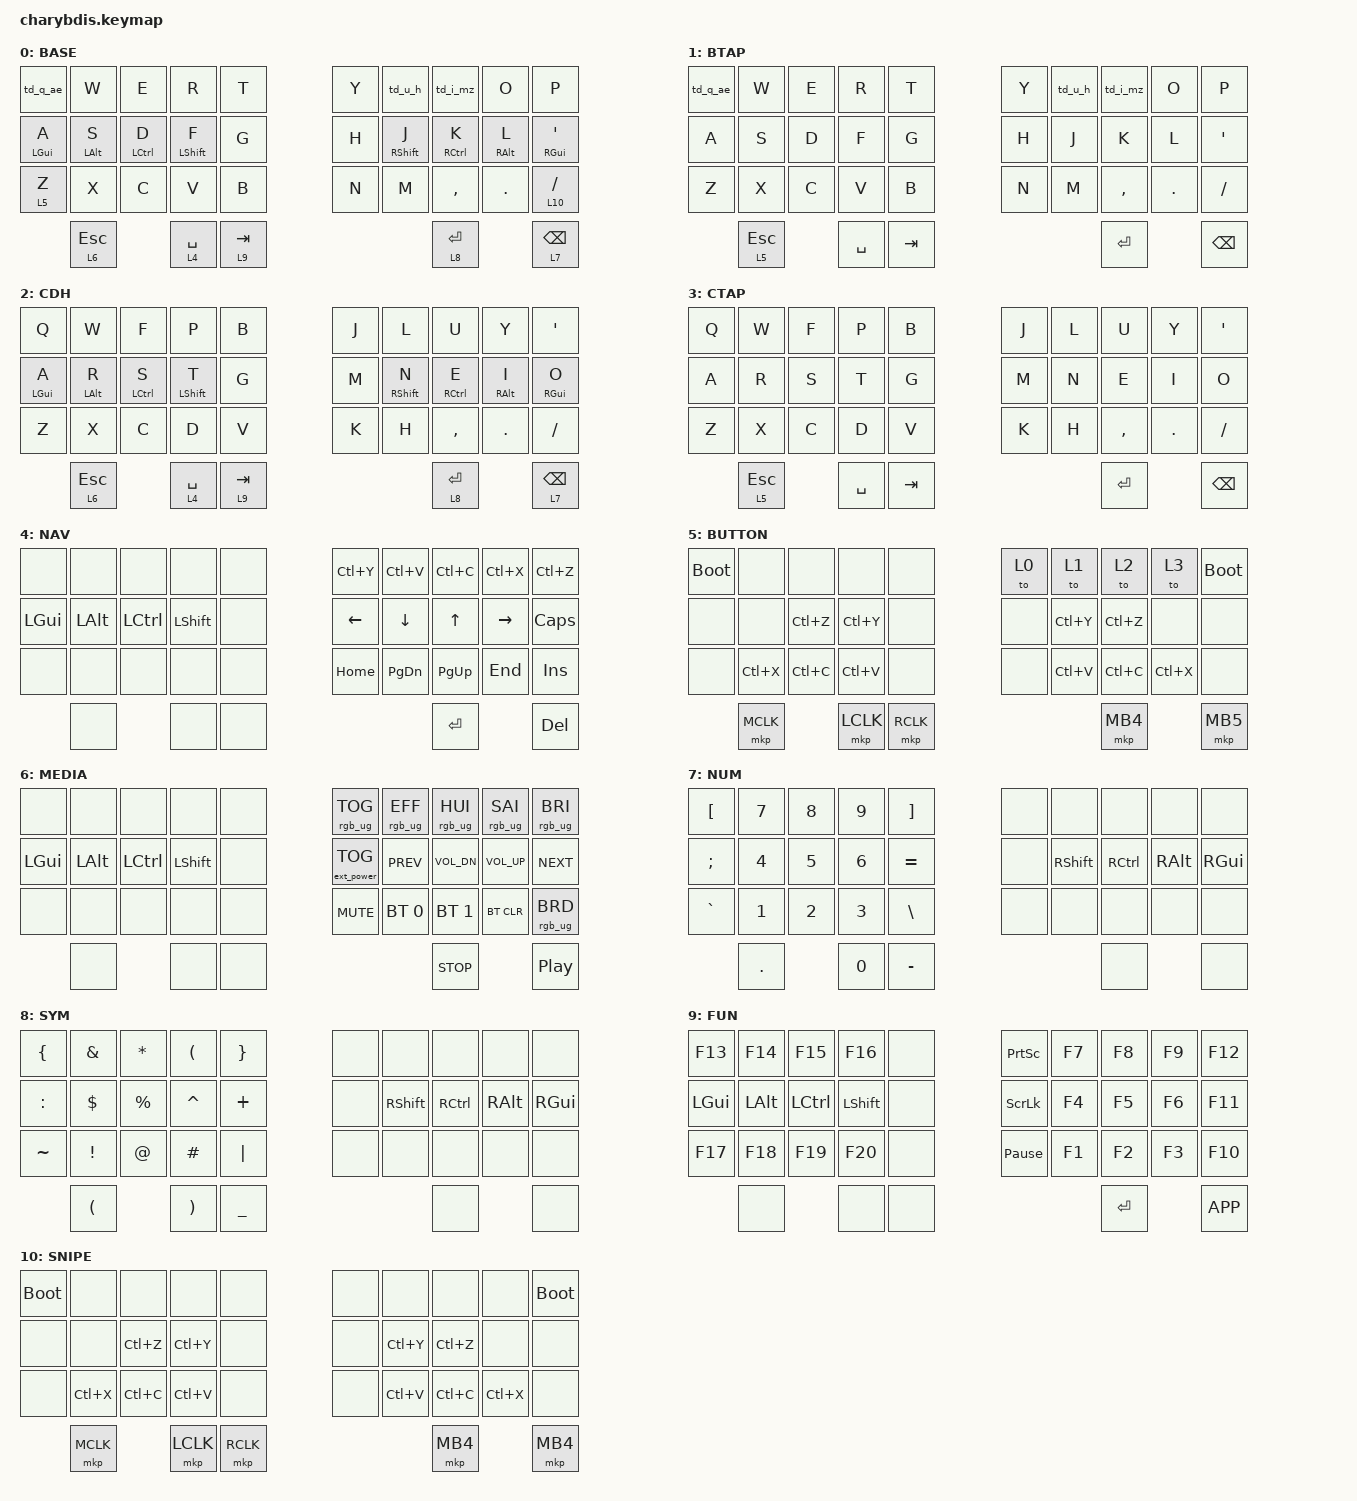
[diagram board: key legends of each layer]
#include <dt-bindings/zmk/mouse.h>
#include <behaviors.dtsi>
#include <dt-bindings/zmk/bt.h>
#include <dt-bindings/zmk/keys.h>
#include <dt-bindings/zmk/pointing.h>
#include <dt-bindings/zmk/rgb.h>
#include <dt-bindings/zmk/ext_power.h>

&lt {
    tapping-term-ms = <200>;
    flavor = "balanced";
    quick-tap-ms = <150>;
};

&mt {
    tapping-term-ms = <200>;
    flavor = "balanced";
    quick-tap-ms = <150>;
};

/ {
    behaviors {
    // Й / Ж
        td_q_ae: td_q_ae {
        compatible = "zmk,behavior-tap-dance";
        #binding-cells = <0>;
        tapping-term-ms = <200>;
        bindings = <&kp Q>, <&kp SEMI>;
    };
    // Г / Х
        td_u_h: td_u_h {
        compatible = "zmk,behavior-tap-dance";
        #binding-cells = <0>;
        tapping-term-ms = <200>;
        bindings = <&kp U>, <&kp LBKT>;
        };
    // Ш / Ъ
        td_i_mz: td_i_mz {
        compatible = "zmk,behavior-tap-dance";
        #binding-cells = <0>;
        tapping-term-ms = <200>;
        bindings = <&kp I>, <&kp RBKT>;
        };
        hml: home_row_mod_left {
            compatible = "zmk,behavior-hold-tap";
            #binding-cells = <2>;
            flavor = "balanced";
            require-prior-idle-ms = <150>;
            tapping-term-ms = <280>;
            quick-tap-ms = <175>;
            bindings = <&kp>, <&kp>;
            hold-trigger-key-positions = <6 7 8 9 10 11 18 19 20 21 22 23 30 31 32 33 34 35 39 40 41>;
            hold-trigger-on-release;
        };
        hmr: home_row_mod_right {
            compatible = "zmk,behavior-hold-tap";
            #binding-cells = <2>;
            flavor = "balanced";
            require-prior-idle-ms = <150>;
            tapping-term-ms = <280>;
            quick-tap-ms = <175>;
            bindings = <&kp>, <&kp>;
            hold-trigger-key-positions = <0 1 2 3 4 5 12 13 14 15 16 17 24 25 26 27 28 29 36 37 38>;
            hold-trigger-on-release;
        };
    };
};

/ {
    combos { compatible = "zmk,combos"; };

    keymap {
        compatible = "zmk,keymap";

                base_layer { // Layer O
                    display-name = "BASE";
// -----------------------------------------------------------------------------------------
// | Q          | W        | E         | R         | T |   | Y | U         | I         | O        | P            |
// | A (LGUI)   | S (LALT) | D (LCTRL) | F (LSHFT) | G |   | H | J (RSHFT) | K (RCTRL) | L (RALT) | SQT (RGUI)   |
// | Z (BUTTON) | X        | C         | V         | B |   | N | M         | COMMA     | DOT      | FSLH (SNIPE) |
//               | ESC (MEDIA) | SPC (NAV) | TAB (FUN) |   | RET (SYM) | BSPC (NUM) |
                        bindings = <
   &td_q_ae    &kp W       &kp E        &kp R        &kp T   &kp Y &td_u_h       &td_i_mz         &kp O         &kp P
   &hml LGUI A &hml LALT S &hml LCTRL D &hml LSHFT F &kp G   &kp H &hmr RSHFT J  &hmr RCTRL K     &hmr RALT L   &hmr RGUI SQT
   &lt 5 Z     &kp X       &kp C        &kp V        &kp B   &kp N &kp M         &kp COMMA        &kp DOT       &lt 10 FSLH
                             &lt 6 ESC &lt 4 SPC &lt 9 TAB   &lt 8 RET &lt 7 BSPC
                        >;
                };
 
                btap_layer { // Layer 1
                    display-name = "BTAP";
// -----------------------------------------------------------------------------------------
// |  Q  |  W  |  E  |  R  |  T  |   |  Y  |  U  |  I     |  O    |  P      |
// |  A  |  S  |  D  |  F  |  G  |   |  H  |  J  |  K     |  L    |  SQT    |
// |  Z  |  X  |  C  |  V  |  B  |   |  N  |  M  |  COMMA |  DOT  |  FSLH   |
//    | ESC (BUTTON) | SPC | TAB |   | RET | BSPC |
                        bindings = <
   &td_q_ae &kp W &kp E &kp R &kp T   &kp Y &td_u_h &td_i_mz  &kp O   &kp P
   &kp A    &kp S &kp D &kp F &kp G   &kp H &kp J   &kp K     &kp L   &kp SQT
   &kp Z    &kp X &kp C &kp V &kp B   &kp N &kp M   &kp COMMA &kp DOT &kp FSLH
          &lt 5 ESC &kp SPC &kp TAB   &kp RET &kp BSPC
                        >;
                };
 
                cdh_layer { // Layer 2
                    display-name = "CDH";
// -----------------------------------------------------------------------------------------
// | Q          | W        | F         | P         | B |   | J | L         | U         | Y        | SQT           |
// | A (LGUI)   | R (LALT) | S (LCTRL) | T (LSHFT) | G |   | M | N (RSHFT) | E (RCTRL) | I (RALT) | O (RGUI)      |
// | Z (BUTTON) | X        | C         | D         | V |   | K | H         | COMMA     | DOT      | FSLH (BUTTON) |
//               | ESC (MEDIA) | SPC (NAV) | TAB (FUN) |   | RET (SYM) | BSPC (NUM) |
                        bindings = <
   &kp Q       &kp W       &kp F        &kp P        &kp B   &kp J &kp L        &kp U        &kp Y       &kp SQT
   &hml LGUI A &hml LALT R &hml LCTRL S &hml LSHFT T &kp G   &kp M &hmr RSHFT N &hmr RCTRL E &hmr RALT I &hmr RGUI O
   &kp Z       &kp X       &kp C        &kp D        &kp V   &kp K &kp H        &kp COMMA    &kp DOT     &kp FSLH
                             &lt 6 ESC &lt 4 SPC &lt 9 TAB   &lt 8 RET &lt 7 BSPC
                        >;
                };
 
                ctap_layer { // Layer 3
                    display-name = "CTAP";
// -----------------------------------------------------------------------------------------
// |  Q  |  W  |  F  |  P  |  B  |   |  J  |  L  |  U      |  Y    |  SQT  |
// |  A  |  R  |  S  |  T  |  G  |   |  M  |  N  |  E      |  I    |  O    |
// |  Z  |  X  |  C  |  D  |  V  |   |  K  |  H  |  COMMA  |  DOT  |  FSLH |
//     | ESC (BUTTON)| SPC | TAB |   | ENT | BSPC |
                        bindings = <
   &kp Q    &kp W &kp F &kp P &kp B   &kp J &kp L  &kp U     &kp Y   &kp SQT
   &kp A    &kp R &kp S &kp T &kp G   &kp M &kp N  &kp E     &kp I   &kp O
   &kp Z    &kp X &kp C &kp D &kp V   &kp K &kp H  &kp COMMA &kp DOT &kp FSLH
          &lt 5 ESC &kp SPC &kp TAB   &kp RET &kp BSPC
                        >;
                };
 
                navigation_layer { // Layer 4
                    display-name = "NAV";
// -----------------------------------------------------------------------------------------
// |      |      |       |       |    |   | REDO | PASTE | COPY  | CUT   | UNDO |
// | LGUI | LALT | LCTRL | LSHFT |    |   | LEFT | DOWN  | UP    | RIGHT | CLCK |
// |      |      |       |       |    |   | HOME | PG_DN | PG_UP | END   | INS  |
//                     |    |    |    |   | ENT | DEL |
                        bindings = <
   &none    &none    &none     &none     &none    &kp LC(Y) &kp LC(V) &kp LC(C) &kp LC(X)  &kp LC(Z)
   &kp LGUI &kp LALT &kp LCTRL &kp LSHFT &none    &kp LEFT   &kp DOWN  &kp UP    &kp RIGHT &kp CLCK
   &none    &none    &none     &none     &none    &kp HOME   &kp PG_DN &kp PG_UP &kp END   &kp INS
                             &none &none &none    &kp RET &kp DEL
                        >;
                };
 
                button_layer { // Layer 5
                    display-name = "BUTTON";
// -----------------------------------------------------------------------------------------
// | BOOT |     |      |       |    |   | BASE | BTAP  | CDH  | CTAP | BOOT |
// |      |     | UNDO | REDO  |    |   |      | REDO  | UNDO |      |      |
// |      | CUT | COPY | PASTE |    |   |      | PASTE | COPY | CUT  |      |
//             | MCLK | LCLK | RCLK |   | MOUSE4 | MOUSE5 |
                        bindings = <
   &bootloader &none     &none     &none     &none   &to 0 &to 1     &to 2     &to 3     &bootloader
   &none       &none     &kp LC(Z) &kp LC(Y) &none   &none &kp LC(Y) &kp LC(Z) &none     &none
   &none       &kp LC(X) &kp LC(C) &kp LC(V) &none   &none &kp LC(V) &kp LC(C) &kp LC(X) &none
                     &mkp MCLK &mkp LCLK &mkp RCLK   &mkp MB4 &mkp MB5
                        >;
                };
 
                media_layer { // Layer 6
                    display-name = "MEDIA";
// -----------------------------------------------------------------------------------------
// |      |      |       |       |    |   | RGB_TOG | RGB_EFF  | RGB_HUI  | RGB_SAI  | RGB_BRI |
// | LGUI | LALT | LCTRL | LSHFT |    |   | EP_TOG  | K_PREV   | C_VOL_DN | C_VOL_UP | C_NEXT  |
// |      |      |       |       |    |   | C_MUTE  | BT_SEL 0 | BT_SEL 1 | BT_CLR   | RGB_BRD |
//                     |    |    |    |   | C_STOP | C_PP |
                        bindings = <
   &none    &none    &none     &none     &none   &rgb_ug RGB_TOG   &rgb_ug RGB_EFF  &rgb_ug RGB_HUI &rgb_ug RGB_SAI &rgb_ug RGB_BRI
   &kp LGUI &kp LALT &kp LCTRL &kp LSHFT &none   &ext_power EP_TOG &kp K_PREV       &kp C_VOL_DN    &kp C_VOL_UP    &kp C_NEXT
   &none    &none    &none     &none     &none   &kp C_MUTE        &bt BT_SEL 0     &bt BT_SEL 1    &bt BT_CLR      &rgb_ug RGB_BRD
                             &none &none &none   &kp C_STOP &kp C_PP
                        >;
                };
 
                num_layer { // Layer 7
                    display-name = "NUM";
// -----------------------------------------------------------------------------------------
// | LBKT  | N7 | N8 | N9 | RBKT  |   |    |       |       |      |      |
// | SEMI  | N4 | N5 | N6 | EQUAL |   |    | RSHFT | RCTRL | RALT | RGUI |
// | GRAVE | N1 | N2 | N3 | BSLH  |   |    |       |       |      |      |
//             | DOT | N0 | MINUS |   |    |    |
                        bindings = <
   &kp LBKT  &kp N7 &kp N8 &kp N9 &kp RBKT   &none &none     &none     &none    &none
   &kp SEMI  &kp N4 &kp N5 &kp N6 &kp EQUAL  &none &kp RSHFT &kp RCTRL &kp RALT &kp RGUI
   &kp GRAVE &kp N1 &kp N2 &kp N3 &kp BSLH   &none &none     &none     &none    &none
                  &kp DOT &kp N0 &kp MINUS   &none &none
                        >;
                };
 
                sym_layer { // Layer 8
                    display-name = "SYM";
// -----------------------------------------------------------------------------------------
// | LBRC  | AMPS | ASTRK | LPAR  | RBRC |   |    |       |       |      |      |
// | COLON | DLLR | PRCNT | CARET | PLUS |   |    | RSHFT | RCTRL | RALT | RGUI |
// | TILDE | EXCL | AT    | HASH  | PIPE |   |    |       |       |      |      |
//                 | LPAR | RPAR | UNDER |   |   |    |
                        bindings = <
   &kp LBRC  &kp AMPS &kp ASTRK &kp LPAR  &kp RBRC   &none &none     &none     &none    &none
   &kp COLON &kp DLLR &kp PRCNT &kp CARET &kp PLUS   &none &kp RSHFT &kp RCTRL &kp RALT &kp RGUI
   &kp TILDE &kp EXCL &kp AT    &kp HASH  &kp PIPE   &none &none     &none     &none    &none
                       &kp LPAR &kp RPAR &kp UNDER   &none &none
                        >;
                };
 
                fun_layer { // Layer 9 + scroll
                    display-name = "FUN";
// -----------------------------------------------------------------------------------------
// | F13  | F14  | F15   | F16   |    |   | PSCRN       | F7 | F8 | F9 | F12 |
// | LGUI | LALT | LCTRL | LSHFT |    |   | SLCK        | F4 | F5 | F6 | F11 |
// | F17  | F18  | F19   | F20   |    |   | PAUSE_BREAK | F1 | F2 | F3 | F10 |
//                     |    |    |    |   | RET | K_APP |
                        bindings = <
   &kp F13  &kp F14  &kp F15   &kp F16   &none   &kp PSCRN       &kp F7 &kp F8 &kp F9 &kp F12
   &kp LGUI &kp LALT &kp LCTRL &kp LSHFT &none   &kp SLCK        &kp F4 &kp F5 &kp F6 &kp F11
   &kp F17  &kp F18  &kp F19   &kp F20   &none   &kp PAUSE_BREAK &kp F1 &kp F2 &kp F3 &kp F10
                             &none &none &none   &kp RET &kp K_APP
                        >;
                };

                snipe_layer { // Layer 10
                    display-name = "SNIPE";
// -----------------------------------------------------------------------------------------
// | BOOT |     |      |       |    |   |    |       |      |     | BOOT |
// |      |     | UNDO | REDO  |    |   |    | REDO  | UNDO |     |      |
// |      | CUT | COPY | PASTE |    |   |    | PASTE | COPY | CUT |      |
//             | MCLK | LCLK | RCLK |   | MOUSE4 | MOUSE5 |
                        bindings = <
   &bootloader &none     &none     &none     &none   &none &none     &none     &none     &bootloader
   &none       &none     &kp LC(Z) &kp LC(Y) &none   &none &kp LC(Y) &kp LC(Z) &none     &none
   &none       &kp LC(X) &kp LC(C) &kp LC(V) &none   &none &kp LC(V) &kp LC(C) &kp LC(X) &none
                     &mkp MCLK &mkp LCLK &mkp RCLK   &mkp MB4 &mkp MB4
                        >;
                };
        };
};
